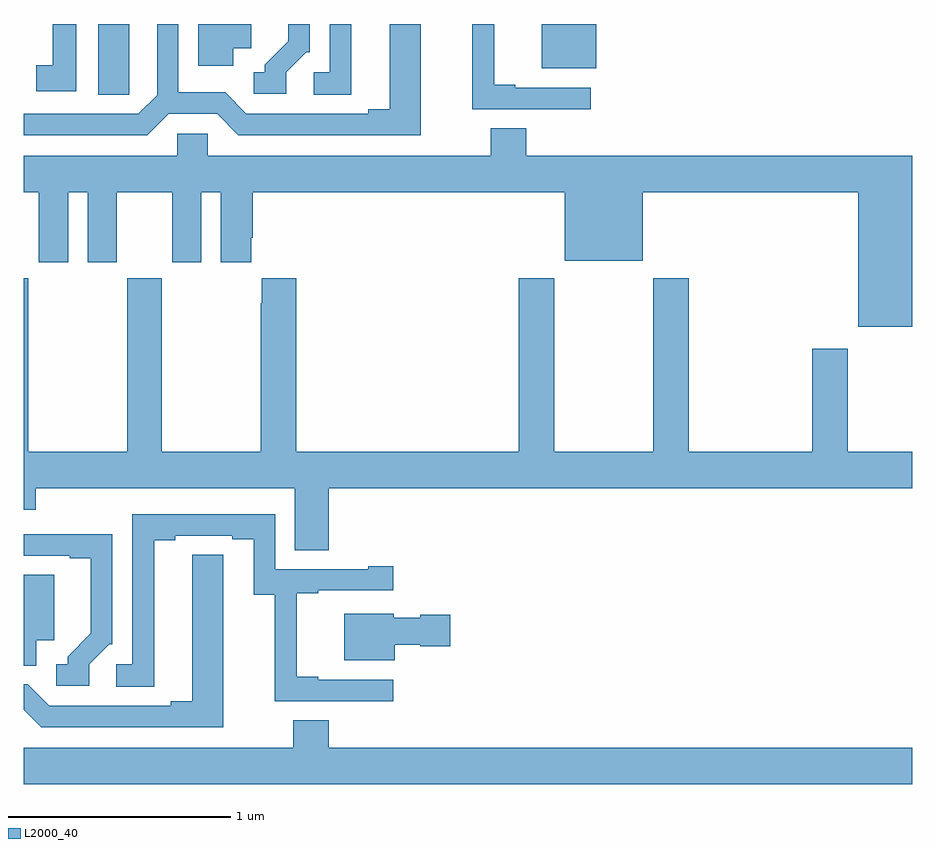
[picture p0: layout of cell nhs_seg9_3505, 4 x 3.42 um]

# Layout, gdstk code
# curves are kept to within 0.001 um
import gdstk
lib = gdstk.Library(unit=1e-6, precision=1e-09)
def R(c, l, rs):  # rectangles x0, y0, x1, y1
    for r in rs: c.add(gdstk.rectangle(r[:2], r[2:], *l))
def P(c, l, *ps):  # polygons
    for p in ps: c.add(gdstk.Polygon(p, *l))
L2000_40 = (2000, 40)

nhs_seg9_3505 = lib.new_cell('nhs_seg9_3505')
R(nhs_seg9_3505, L2000_40, [(313.331,1206.302,313.576,1206.5)])
P(nhs_seg9_3505, L2000_40, [(311.653,1206.096),(311.871,1206.096),(311.967,1206),(312.787,1206),(312.787,1206.5),(312.647,1206.5),(312.647,1206.116),(312.551,1206.116),(312.551,1206.096),(312.003,1206.096),(311.907,1206.192),(311.697,1206.192),(311.697,1206.5),(311.601,1206.5),(311.601,1206.18),(311.517,1206.096),(311,1206.096),(311,1206),(311.557,1206)],
  [(311.236,1206.5),(311.132,1206.5),(311.132,1206.314),(311.058,1206.314),(311.058,1206.198),(311.236,1206.198)],
  [(312.183,1206.282),(312.273,1206.372),(312.288,1206.372),(312.288,1206.5),(312.191,1206.5),(312.191,1206.422),(312.086,1206.317),(312.086,1206.282),(312.036,1206.282),(312.036,1206.186),(312.183,1206.186)],
  [(311.475,1206.289),(311.476,1206.289),(311.476,1206.5),(311.336,1206.5),(311.336,1206.181),(311.475,1206.181)],
  [(312.475,1206.5),(312.378,1206.5),(312.378,1206.282),(312.306,1206.282),(312.306,1206.181),(312.475,1206.181)],
  [(313.552,1206.213),(313.213,1206.213),(313.213,1206.226),(313.118,1206.226),(313.118,1206.5),(313.018,1206.5),(313.018,1206.117),(313.552,1206.117)],
  [(311.944,1206.392),(312.025,1206.392),(312.025,1206.5),(311.786,1206.5),(311.786,1206.312),(311.944,1206.312)],
  [(315,1205.908),(313.262,1205.908),(313.262,1206.032),(313.102,1206.032),(313.102,1205.908),(311.829,1205.908),(311.829,1206.006),(311.691,1206.006),(311.691,1205.908),(311,1205.908),(311,1205.744),(311.069,1205.744),(311.069,1205.427),(311.2,1205.427),(311.2,1205.744),(311.288,1205.744),(311.288,1205.427),(311.419,1205.427),(311.419,1205.744),(311.669,1205.744),(311.669,1205.427),(311.8,1205.427),(311.8,1205.744),(311.888,1205.744),(311.888,1205.427),(312.025,1205.427),(312.025,1205.539),(312.032,1205.539),(312.032,1205.744),(313.436,1205.744),(313.436,1205.435),(313.786,1205.435),(313.786,1205.744),(314.756,1205.744),(314.756,1205.138),(315,1205.138)],
  [(312.374,1204.412),(315,1204.412),(315,1204.576),(314.709,1204.576),(314.709,1205.038),(314.549,1205.038),(314.549,1204.576),(313.994,1204.576),(313.994,1205.356),(313.834,1205.356),(313.834,1204.576),(313.389,1204.576),(313.389,1205.356),(313.229,1205.356),(313.229,1204.576),(312.227,1204.576),(312.227,1205.356),(312.071,1205.356),(312.071,1205.243),(312.067,1205.243),(312.067,1204.576),(311.622,1204.576),(311.622,1205.356),(311.467,1205.356),(311.467,1204.576),(311.022,1204.576),(311.022,1205.356),(311,1205.356),(311,1204.314),(311.054,1204.314),(311.054,1204.412),(312.221,1204.412),(312.221,1204.132),(312.374,1204.132)],
  [(312.664,1203.549),(312.325,1203.549),(312.325,1203.562),(312.23,1203.562),(312.23,1203.939),(312.325,1203.939),(312.325,1203.951),(312.664,1203.951),(312.664,1204.06),(312.551,1204.06),(312.551,1204.047),(312.132,1204.047),(312.132,1204.293),(311.49,1204.293),(311.49,1203.618),(311.418,1203.618),(311.418,1203.517),(311.587,1203.517),(311.587,1204.177),(311.683,1204.177),(311.683,1204.197),(311.939,1204.197),(311.939,1204.182),(312.035,1204.182),(312.035,1203.931),(312.13,1203.931),(312.13,1203.453),(312.664,1203.453)],
  [(311.295,1203.618),(311.385,1203.708),(311.4,1203.708),(311.4,1204.205),(311.137,1204.205),(311.137,1204.203),(311,1204.203),(311,1204.107),(311.207,1204.107),(311.207,1204.095),(311.303,1204.095),(311.303,1203.758),(311.198,1203.653),(311.198,1203.618),(311.148,1203.618),(311.148,1203.522),(311.295,1203.522)],
  [(311.899,1204.004),(311.898,1204.112),(311.759,1204.112),(311.759,1203.452),(311.663,1203.452),(311.663,1203.432),(311.115,1203.432),(311.019,1203.528),(311,1203.528),(311,1203.415),(311.079,1203.336),(311.899,1203.336)],
  [(311.056,1203.728),(311.137,1203.728),(311.137,1204.022),(311,1204.022),(311,1203.613),(311.056,1203.613)],
  [(312.67,1203.707),(312.786,1203.707),(312.786,1203.7),(312.919,1203.7),(312.919,1203.842),(312.786,1203.842),(312.786,1203.829),(312.666,1203.829),(312.666,1203.847),(312.443,1203.847),(312.443,1203.638),(312.67,1203.638)],
  [(315,1203.244),(312.374,1203.244),(312.374,1203.368),(312.214,1203.368),(312.214,1203.244),(311,1203.244),(311,1203.08),(315,1203.08)])

lib.write_gds('nhs_seg9_3505.gds')
